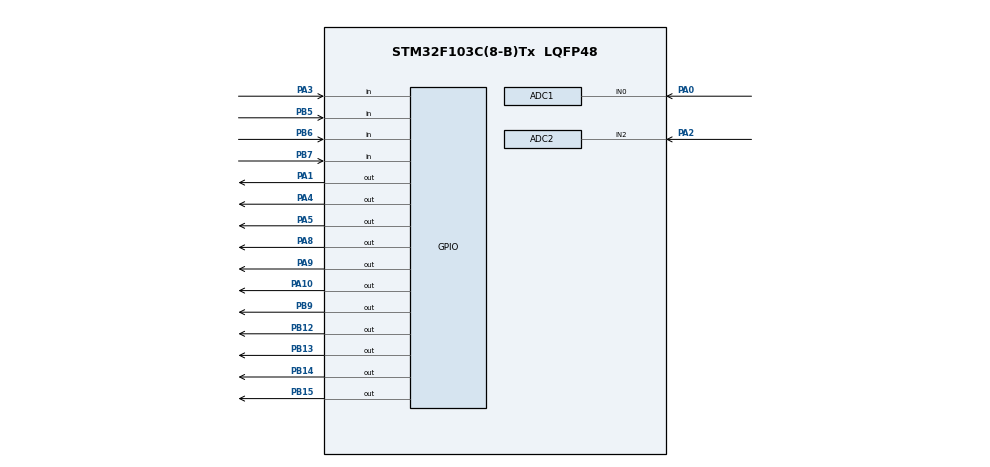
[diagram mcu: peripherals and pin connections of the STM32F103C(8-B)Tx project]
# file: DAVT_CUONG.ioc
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ADC1.Channel-0\#ChannelRegularConversion=ADC_CHANNEL_0
ADC1.ContinuousConvMode=ENABLE
ADC1.NbrOfConversion=1
ADC1.NbrOfConversionFlag=1
ADC1.Rank-0\#ChannelRegularConversion=1
ADC1.SamplingTime-0\#ChannelRegularConversion=ADC_SAMPLETIME_55CYCLES_5
ADC1.master=1
ADC2.Channel-0\#ChannelRegularConversion=ADC_CHANNEL_2
ADC2.ContinuousConvMode=ENABLE
ADC2.NbrOfConversionFlag=1
ADC2.Rank-0\#ChannelRegularConversion=1
ADC2.SamplingTime-0\#ChannelRegularConversion=ADC_SAMPLETIME_55CYCLES_5
Mcu.Family=STM32F1
Mcu.Name=STM32F103C(8-B)Tx
Mcu.Package=LQFP48
NVIC.PriorityGroup=NVIC_PRIORITYGROUP_4
PA0-WKUP.Signal=ADCx_IN0
PA1.Signal=GPIO_Output
PA10.Signal=GPIO_Output
PA13.Mode=Serial_Wire
PA13.Signal=SYS_JTMS-SWDIO
PA14.Mode=Serial_Wire
PA14.Signal=SYS_JTCK-SWCLK
PA2.Signal=ADCx_IN2
PA3.Signal=GPIO_Input
PA4.GPIO_PuPd=GPIO_PULLUP
PA4.PinState=GPIO_PIN_SET
PA4.Signal=GPIO_Output
PA5.GPIO_PuPd=GPIO_PULLUP
PA5.PinState=GPIO_PIN_SET
PA5.Signal=GPIO_Output
PA8.Signal=GPIO_Output
PA9.Signal=GPIO_Output
PB12.Signal=GPIO_Output
PB13.Signal=GPIO_Output
PB14.Signal=GPIO_Output
PB15.Signal=GPIO_Output
PB5.Signal=GPIO_Input
PB6.Signal=GPIO_Input
PB7.Signal=GPIO_Input
PB9.Signal=GPIO_Output
ProjectManager.HeapSize=0x200
ProjectManager.StackSize=0x400
ProjectManager.TargetToolchain=MDK-ARM V5.32
RCC.APB1Freq_Value=8000000
RCC.APB2Freq_Value=8000000
SH.ADCx_IN0.0=ADC1_IN0,IN0
SH.ADCx_IN2.0=ADC2_IN2,IN2
VP_ADC1_Vref_Input.Mode=IN-Vrefint
board=custom

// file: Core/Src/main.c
/* USER CODE BEGIN Header */
/**
  ******************************************************************************
  * @file           : main.c
  * @brief          : Main program body
  ******************************************************************************
  * @attention
  *
  * Copyright (c) 2024 STMicroelectronics.
  * All rights reserved.
  *
  * This software is licensed under terms that can be found in the LICENSE file
  * in the root directory of this software component.
  * If no LICENSE file comes with this software, it is provided AS-IS.
  *
  ******************************************************************************
  */
/* USER CODE END Header */
#include "main.h"

/* USER CODE BEGIN Includes */
#include "CLCD.h"
#include <stdio.h>
/* USER CODE END Includes */

ADC_HandleTypeDef hadc1;
ADC_HandleTypeDef hadc2;

void SystemClock_Config(void);
static void MX_GPIO_Init(void);
static void MX_ADC1_Init(void);
static void MX_ADC2_Init(void);

/* USER CODE BEGIN 0 */
CLCD_Name LCD1;
char LCD_send1[8];
char LCD_send[8];
uint8_t mode = 0;
uint8_t nhiet_do = 50;
int khi_gas1 = 0;
int temperture = 0;
uint8_t count_bt1, count_bt2, count_bt3;
uint16_t data[2];
uint8_t phan_tram_khi_gas = 50;
int dem = 0;
void Doc_ADC_Kenh1()
{
	ADC_ChannelConfTypeDef sConfig = {0};
	sConfig.Channel = ADC_CHANNEL_0;
  sConfig.Rank = 1;
  sConfig.SamplingTime = ADC_SAMPLETIME_55CYCLES5_SMPR1ALLCHANNELS;
  if (HAL_ADC_ConfigChannel(&hadc1, &sConfig) != HAL_OK)
  {
    Error_Handler();
  }
}

void Doc_ADC_Kenh2()
{
	ADC_ChannelConfTypeDef sConfig = {0};
	sConfig.Channel = ADC_CHANNEL_2;
  sConfig.Rank = 1;
  sConfig.SamplingTime = ADC_SAMPLETIME_55CYCLES5_SMPR1ALLCHANNELS;
  if (HAL_ADC_ConfigChannel(&hadc2, &sConfig) != HAL_OK)
  {
    Error_Handler();
  }
}
/* USER CODE END 0 */

int main(void)
{

  /* MCU Configuration--------------------------------------------------------*/

  /* Reset of all peripherals, Initializes the Flash interface and the Systick. */
  HAL_Init();

  /* Configure the system clock */
  SystemClock_Config();

  /* Initialize all configured peripherals */
  MX_GPIO_Init();
  MX_ADC1_Init();
  MX_ADC2_Init();
  /* USER CODE BEGIN 2 */
	CLCD_4BIT_Init(&LCD1, 16, 2, GPIOB, GPIO_PIN_12, GPIOB, GPIO_PIN_14,
									GPIOB, GPIO_PIN_15, GPIOA, GPIO_PIN_8,
									GPIOA, GPIO_PIN_9, GPIOA, GPIO_PIN_10);

  /* USER CODE END 2 */

  /* Infinite loop */
  while (1)
  {

    /* USER CODE BEGIN 3 */

        // Р?i cho d?n khi chuy?n d?i hoаn t?t
	if(mode == 0){
				Doc_ADC_Kenh1();
				HAL_ADC_Start(&hadc1);
				HAL_ADC_PollForConversion(&hadc1,10);
				data[0] = HAL_ADC_GetValue(&hadc1);
				HAL_Delay(2);
				Doc_ADC_Kenh2();
				HAL_ADC_Start(&hadc2);
				HAL_ADC_PollForConversion(&hadc2,10);
				data[1] = HAL_ADC_GetValue(&hadc2);
				HAL_Delay(2);
				//CLCD_Clear(&LCD1);
				temperture = (3.3 * data[0] * 100)/4095;
			  khi_gas1  = (data[1]  * 100 / 4095);
				sprintf(LCD_send, "Nhiet do: %d", temperture);
				CLCD_SetCursor(&LCD1, 0, 1);
			  CLCD_WriteString(&LCD1, LCD_send);
				sprintf(LCD_send1, "Khi gas: %d", khi_gas1);
				CLCD_SetCursor(&LCD1, 0, 0);
				CLCD_WriteString(&LCD1, LCD_send1);

				HAL_Delay(10);
			  if(temperture > nhiet_do || khi_gas1 > phan_tram_khi_gas) {
						 HAL_GPIO_WritePin(GPIOA,GPIO_PIN_1,0);
						 HAL_GPIO_WritePin(GPIOB,GPIO_PIN_9,1);
					   HAL_GPIO_WritePin(GPIOA,GPIO_PIN_4,0);
						 HAL_GPIO_WritePin(GPIOA,GPIO_PIN_5,0);
					   HAL_Delay(500);
						 HAL_GPIO_WritePin(GPIOA,GPIO_PIN_1,1);
						// HAL_GPIO_WritePin(GPIOB,GPIO_PIN_9,0);
					   HAL_Delay(500);
					}
				else{
						 HAL_GPIO_WritePin(GPIOA,GPIO_PIN_4,1);
						 HAL_GPIO_WritePin(GPIOA,GPIO_PIN_5,1);
					   HAL_GPIO_WritePin(GPIOB,GPIO_PIN_9,0);
					}
		 }
		else if(mode == 1){
			 char nt[16];
			 if(HAL_GPIO_ReadPin(GPIOB,GPIO_PIN_7) == 0){
					while(HAL_GPIO_ReadPin(GPIOB,GPIO_PIN_7) == 0);
						//CLCD_Clear(&LCD1);
						nhiet_do++;
					  HAL_Delay(10);
				}
			if(HAL_GPIO_ReadPin(GPIOB,GPIO_PIN_6) == 0){
					while(HAL_GPIO_ReadPin(GPIOB,GPIO_PIN_6) == 0);
						nhiet_do--;
					  HAL_Delay(10);
				}
			 //CLCD_Clear(&LCD1);

			 CLCD_SetCursor(&LCD1, 0, 1);
			 sprintf(nt, "Set nhiet do: %d", nhiet_do);
			 CLCD_WriteString(&LCD1, nt);
		}
		else if(mode == 2){
			 char nt[16];
			 if(HAL_GPIO_ReadPin(GPIOB,GPIO_PIN_7) == 0){
			 while(HAL_GPIO_ReadPin(GPIOB,GPIO_PIN_7) == 0);
						//CLCD_Clear(&LCD1);
						phan_tram_khi_gas++;
				    //CLCD_Clear(&LCD1);
						CLCD_SetCursor(&LCD1, 0, 1);
						CLCD_WriteString(&LCD1, nt);
					  HAL_Delay(10);
				}
			if(HAL_GPIO_ReadPin(GPIOB,GPIO_PIN_6) == 0){
			 while(HAL_GPIO_ReadPin(GPIOB,GPIO_PIN_6) == 0);
						//CLCD_Clear(&LCD1);
						phan_tram_khi_gas--;
				    //CLCD_Clear(&LCD1);
						CLCD_SetCursor(&LCD1, 0, 1);
						CLCD_WriteString(&LCD1, nt);
					  HAL_Delay(10);
				}
			 sprintf(nt, "Set khi gas: %d", phan_tram_khi_gas);
			 CLCD_SetCursor(&LCD1, 0, 1);
			 CLCD_WriteString(&LCD1, nt);
		}
		if(HAL_GPIO_ReadPin(GPIOB,GPIO_PIN_5) == 0){
			 while(HAL_GPIO_ReadPin(GPIOB,GPIO_PIN_5) == 0);
			 	 mode++;
			 CLCD_Clear(&LCD1);

			 if(mode == 3){
				 mode = 0;
				 }
			}

			HAL_Delay(10);

		}
  /* USER CODE END 3 */
}

void SystemClock_Config(void)
{
  RCC_OscInitTypeDef RCC_OscInitStruct = {0};
  RCC_ClkInitTypeDef RCC_ClkInitStruct = {0};
  RCC_PeriphCLKInitTypeDef PeriphClkInit = {0};

  /** Initializes the RCC Oscillators according to the specified parameters
  * in the RCC_OscInitTypeDef structure.
  */
  RCC_OscInitStruct.OscillatorType = RCC_OSCILLATORTYPE_HSI;
  RCC_OscInitStruct.HSIState = RCC_HSI_ON;
  RCC_OscInitStruct.HSICalibrationValue = RCC_HSICALIBRATION_DEFAULT;
  RCC_OscInitStruct.PLL.PLLState = RCC_PLL_NONE;
  if (HAL_RCC_OscConfig(&RCC_OscInitStruct) != HAL_OK)
  {
    Error_Handler();
  }

  /** Initializes the CPU, AHB and APB buses clocks
  */
  RCC_ClkInitStruct.ClockType = RCC_CLOCKTYPE_HCLK|RCC_CLOCKTYPE_SYSCLK
                              |RCC_CLOCKTYPE_PCLK1|RCC_CLOCKTYPE_PCLK2;
  RCC_ClkInitStruct.SYSCLKSource = RCC_SYSCLKSOURCE_HSI;
  RCC_ClkInitStruct.AHBCLKDivider = RCC_SYSCLK_DIV1;
  RCC_ClkInitStruct.APB1CLKDivider = RCC_HCLK_DIV1;
  RCC_ClkInitStruct.APB2CLKDivider = RCC_HCLK_DIV1;

  if (HAL_RCC_ClockConfig(&RCC_ClkInitStruct, FLASH_LATENCY_0) != HAL_OK)
  {
    Error_Handler();
  }
  PeriphClkInit.PeriphClockSelection = RCC_PERIPHCLK_ADC;
  PeriphClkInit.AdcClockSelection = RCC_ADCPCLK2_DIV2;
  if (HAL_RCCEx_PeriphCLKConfig(&PeriphClkInit) != HAL_OK)
  {
    Error_Handler();
  }
}

static void MX_ADC1_Init(void)
{

  ADC_ChannelConfTypeDef sConfig = {0};

  /** Common config
  */
  hadc1.Instance = ADC1;
  hadc1.Init.ScanConvMode = ADC_SCAN_DISABLE;
  hadc1.Init.ContinuousConvMode = ENABLE;
  hadc1.Init.DiscontinuousConvMode = DISABLE;
  hadc1.Init.ExternalTrigConv = ADC_SOFTWARE_START;
  hadc1.Init.DataAlign = ADC_DATAALIGN_RIGHT;
  hadc1.Init.NbrOfConversion = 1;
  if (HAL_ADC_Init(&hadc1) != HAL_OK)
  {
    Error_Handler();
  }

  /** Configure Regular Channel
  */
  sConfig.Channel = ADC_CHANNEL_0;
  sConfig.Rank = ADC_REGULAR_RANK_1;
  sConfig.SamplingTime = ADC_SAMPLETIME_55CYCLES_5;
  if (HAL_ADC_ConfigChannel(&hadc1, &sConfig) != HAL_OK)
  {
    Error_Handler();
  }

}

static void MX_ADC2_Init(void)
{

  ADC_ChannelConfTypeDef sConfig = {0};

  /** Common config
  */
  hadc2.Instance = ADC2;
  hadc2.Init.ScanConvMode = ADC_SCAN_DISABLE;
  hadc2.Init.ContinuousConvMode = ENABLE;
  hadc2.Init.DiscontinuousConvMode = DISABLE;
  hadc2.Init.ExternalTrigConv = ADC_SOFTWARE_START;
  hadc2.Init.DataAlign = ADC_DATAALIGN_RIGHT;
  hadc2.Init.NbrOfConversion = 1;
  if (HAL_ADC_Init(&hadc2) != HAL_OK)
  {
    Error_Handler();
  }

  /** Configure Regular Channel
  */
  sConfig.Channel = ADC_CHANNEL_2;
  sConfig.Rank = ADC_REGULAR_RANK_1;
  sConfig.SamplingTime = ADC_SAMPLETIME_55CYCLES_5;
  if (HAL_ADC_ConfigChannel(&hadc2, &sConfig) != HAL_OK)
  {
    Error_Handler();
  }

}

static void MX_GPIO_Init(void)
{
  GPIO_InitTypeDef GPIO_InitStruct = {0};

  /* GPIO Ports Clock Enable */
  __HAL_RCC_GPIOA_CLK_ENABLE();
  __HAL_RCC_GPIOB_CLK_ENABLE();

  /*Configure GPIO pin Output Level */
  HAL_GPIO_WritePin(GPIOA, GPIO_PIN_1|GPIO_PIN_8|GPIO_PIN_9|GPIO_PIN_10, GPIO_PIN_RESET);

  /*Configure GPIO pin Output Level */
  HAL_GPIO_WritePin(GPIOA, GPIO_PIN_4|GPIO_PIN_5, GPIO_PIN_SET);

  /*Configure GPIO pin Output Level */
  HAL_GPIO_WritePin(GPIOB, GPIO_PIN_12|GPIO_PIN_13|GPIO_PIN_14|GPIO_PIN_15
                          |GPIO_PIN_9, GPIO_PIN_RESET);

  /*Configure GPIO pins : PA1 PA8 PA9 PA10 */
  GPIO_InitStruct.Pin = GPIO_PIN_1|GPIO_PIN_8|GPIO_PIN_9|GPIO_PIN_10;
  GPIO_InitStruct.Mode = GPIO_MODE_OUTPUT_PP;
  GPIO_InitStruct.Pull = GPIO_NOPULL;
  GPIO_InitStruct.Speed = GPIO_SPEED_FREQ_LOW;
  HAL_GPIO_Init(GPIOA, &GPIO_InitStruct);

  /*Configure GPIO pin : PA3 */
  GPIO_InitStruct.Pin = GPIO_PIN_3;
  GPIO_InitStruct.Mode = GPIO_MODE_INPUT;
  GPIO_InitStruct.Pull = GPIO_NOPULL;
  HAL_GPIO_Init(GPIOA, &GPIO_InitStruct);

  /*Configure GPIO pins : PA4 PA5 */
  GPIO_InitStruct.Pin = GPIO_PIN_4|GPIO_PIN_5;
  GPIO_InitStruct.Mode = GPIO_MODE_OUTPUT_PP;
  GPIO_InitStruct.Pull = GPIO_PULLUP;
  GPIO_InitStruct.Speed = GPIO_SPEED_FREQ_LOW;
  HAL_GPIO_Init(GPIOA, &GPIO_InitStruct);

  /*Configure GPIO pins : PB12 PB13 PB14 PB15
                           PB9 */
  GPIO_InitStruct.Pin = GPIO_PIN_12|GPIO_PIN_13|GPIO_PIN_14|GPIO_PIN_15
                          |GPIO_PIN_9;
  GPIO_InitStruct.Mode = GPIO_MODE_OUTPUT_PP;
  GPIO_InitStruct.Pull = GPIO_NOPULL;
  GPIO_InitStruct.Speed = GPIO_SPEED_FREQ_LOW;
  HAL_GPIO_Init(GPIOB, &GPIO_InitStruct);

  /*Configure GPIO pins : PB5 PB6 PB7 */
  GPIO_InitStruct.Pin = GPIO_PIN_5|GPIO_PIN_6|GPIO_PIN_7;
  GPIO_InitStruct.Mode = GPIO_MODE_INPUT;
  GPIO_InitStruct.Pull = GPIO_NOPULL;
  HAL_GPIO_Init(GPIOB, &GPIO_InitStruct);

}

void Error_Handler(void)
{
  __disable_irq();
  while (1)
  {
  }
}
